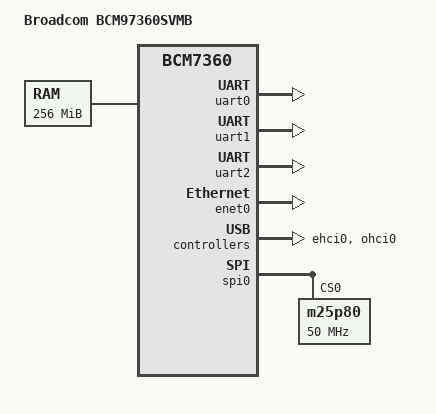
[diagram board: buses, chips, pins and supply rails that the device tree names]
/dts-v1/;

/include/ "bcm7360.dtsi"

/ {
	compatible = "brcm,bcm97360svmb", "brcm,bcm7360";
	model = "Broadcom BCM97360SVMB";

	memory@0 {
		device_type = "memory";
		reg = <0x00000000 0x10000000>;
	};

	chosen {
		bootargs = "console=ttyS0,115200";
		stdout-path = &uart0;
	};
};

&uart0 {
	status = "okay";
};

&uart1 {
	status = "okay";
};

&uart2 {
	status = "okay";
};

&enet0 {
	status = "okay";
};

&ehci0 {
	status = "okay";
};

&ohci0 {
	status = "okay";
};

&spi0 {
	status = "okay";

	m25p80@0 {
		compatible = "m25p80";
		spi-max-frequency = <50000000>;
		reg = <0>;
		spi-cpha;
		spi-cpol;
		#address-cells = <1>;
		#size-cells = <1>;

		cfe@0 {
			reg = <0x0 0xa0000>;
		};

		nvram@a0000 {
			reg = <0xa0000 0x10000>;
		};

		mac@b0000 {
			reg = <0xb0000 0x10000>;
		};
	};
};
